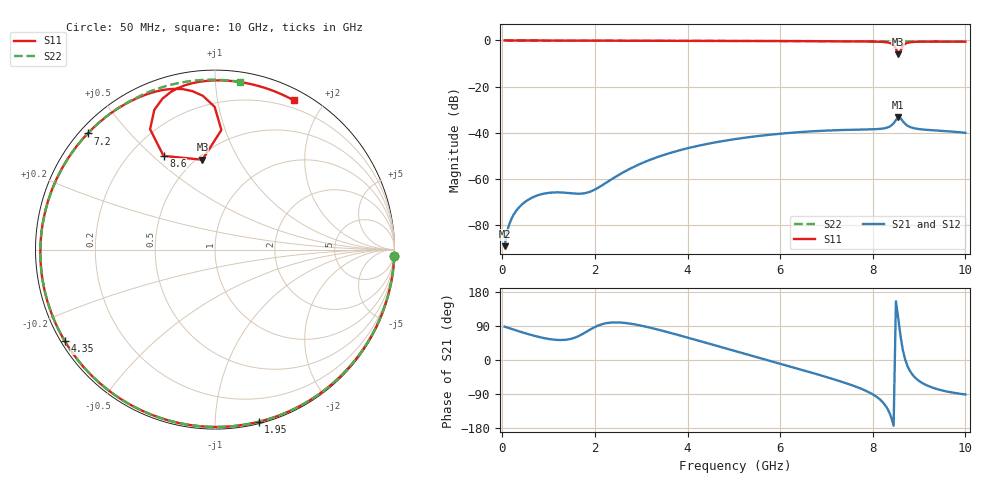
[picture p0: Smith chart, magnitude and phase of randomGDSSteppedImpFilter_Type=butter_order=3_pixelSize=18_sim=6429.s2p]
! freq	dB(S11)	phase(S11)	dB(S12)	phase(S12)
!  dB(S21)	phase(S21)	dB(S22)	phase(S22)
!S-par simulation data
#  GHz  S  DB  R 50
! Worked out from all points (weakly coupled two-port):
!   200 points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, 50 MHz to 10 GHz, reference 50 ohm
!   highest |S21| = -33.34 dB at 8.55 GHz (marker M1); lowest = -89.1 dB at 50 MHz (marker M2)
!   lowest |S11| = -5.9 dB at 8.55 GHz (marker M3), VSWR 3.05, Z = 26.7 + j35.9 ohm
!   |S11| at or under -10 dB: nowhere
!   |S22| runs from -0.5 to 0.0 dB; largest |S21 - S12| = 0
!   S11 on the Smith chart (normalised r, x): 50 MHz: 0, -55; 1.95 GHz: 0.01, -1.28; 4.35 GHz: 0.01, -0.28; 7.2 GHz: 0.02, +0.39; 8.6 GHz: 0.33, +0.54; 10 GHz: 0.12, +1.65
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0.05  -0.00 -2.1  -89.12 88.0  -89.12 88.0  -0.00 -2.0
0.15  -0.01 -6.2  -79.63 84.0  -79.63 84.0  -0.01 -6.1
0.4  -0.02 -16.4  -71.50 74.2  -71.50 74.2  -0.02 -16.1
0.7  -0.04 -28.6  -67.59 63.6  -67.59 63.6  -0.04 -27.9
1.1  -0.06 -44.4  -65.85 53.8  -65.85 53.8  -0.05 -43.3
1.75  -0.08 -68.7  -66.27 69.7  -66.27 69.7  -0.08 -67.0
1.95  -0.09 -75.8  -65.08 84.0  -65.08 84.0  -0.09 -73.9
2.65  -0.11 -99.3  -56.71 97.8  -56.71 97.8  -0.11 -96.6
3.4  -0.14 -122.1  -50.19 79.0  -50.19 79.0  -0.13 -118.7
4.35  -0.18 -148.6  -45.12 47.1  -45.12 47.1  -0.17 -143.8
5.05  -0.21 -166.9  -42.67 23.0  -42.67 23.0  -0.20 -160.9
5.85  -0.25 172.7  -40.69 -4.5  -40.69 -4.5  -0.24 -179.6
6.7  -0.31 150.9  -39.35 -34.1  -39.35 -34.1  -0.29 160.9
7.2  -0.35 137.6  -38.89 -52.4  -38.89 -52.4  -0.32 149.5
7.95  -0.47 115.6  -38.51 -87.2  -38.51 -87.2  -0.37 132.0
8.35  -0.99 98.2  -37.46 -136.4  -37.46 -136.4  -0.40 122.5
8.5  -3.51 86.9  -34.51 154.9  -34.51 154.9  -0.42 118.9
8.55  -5.92 98.0  -33.34 110.6  -33.34 110.6  -0.43 117.8
8.6  -4.50 118.8  -33.69 62.6  -33.69 62.6  -0.42 116.7
8.7  -1.42 113.5  -36.15 1.0  -36.15 1.0  -0.42 114.2
8.9  -0.62 100.2  -38.06 -44.7  -38.06 -44.7  -0.43 109.3
10  -0.53 62.2  -40.02 -91.0  -40.02 -91.0  -0.50 81.6
